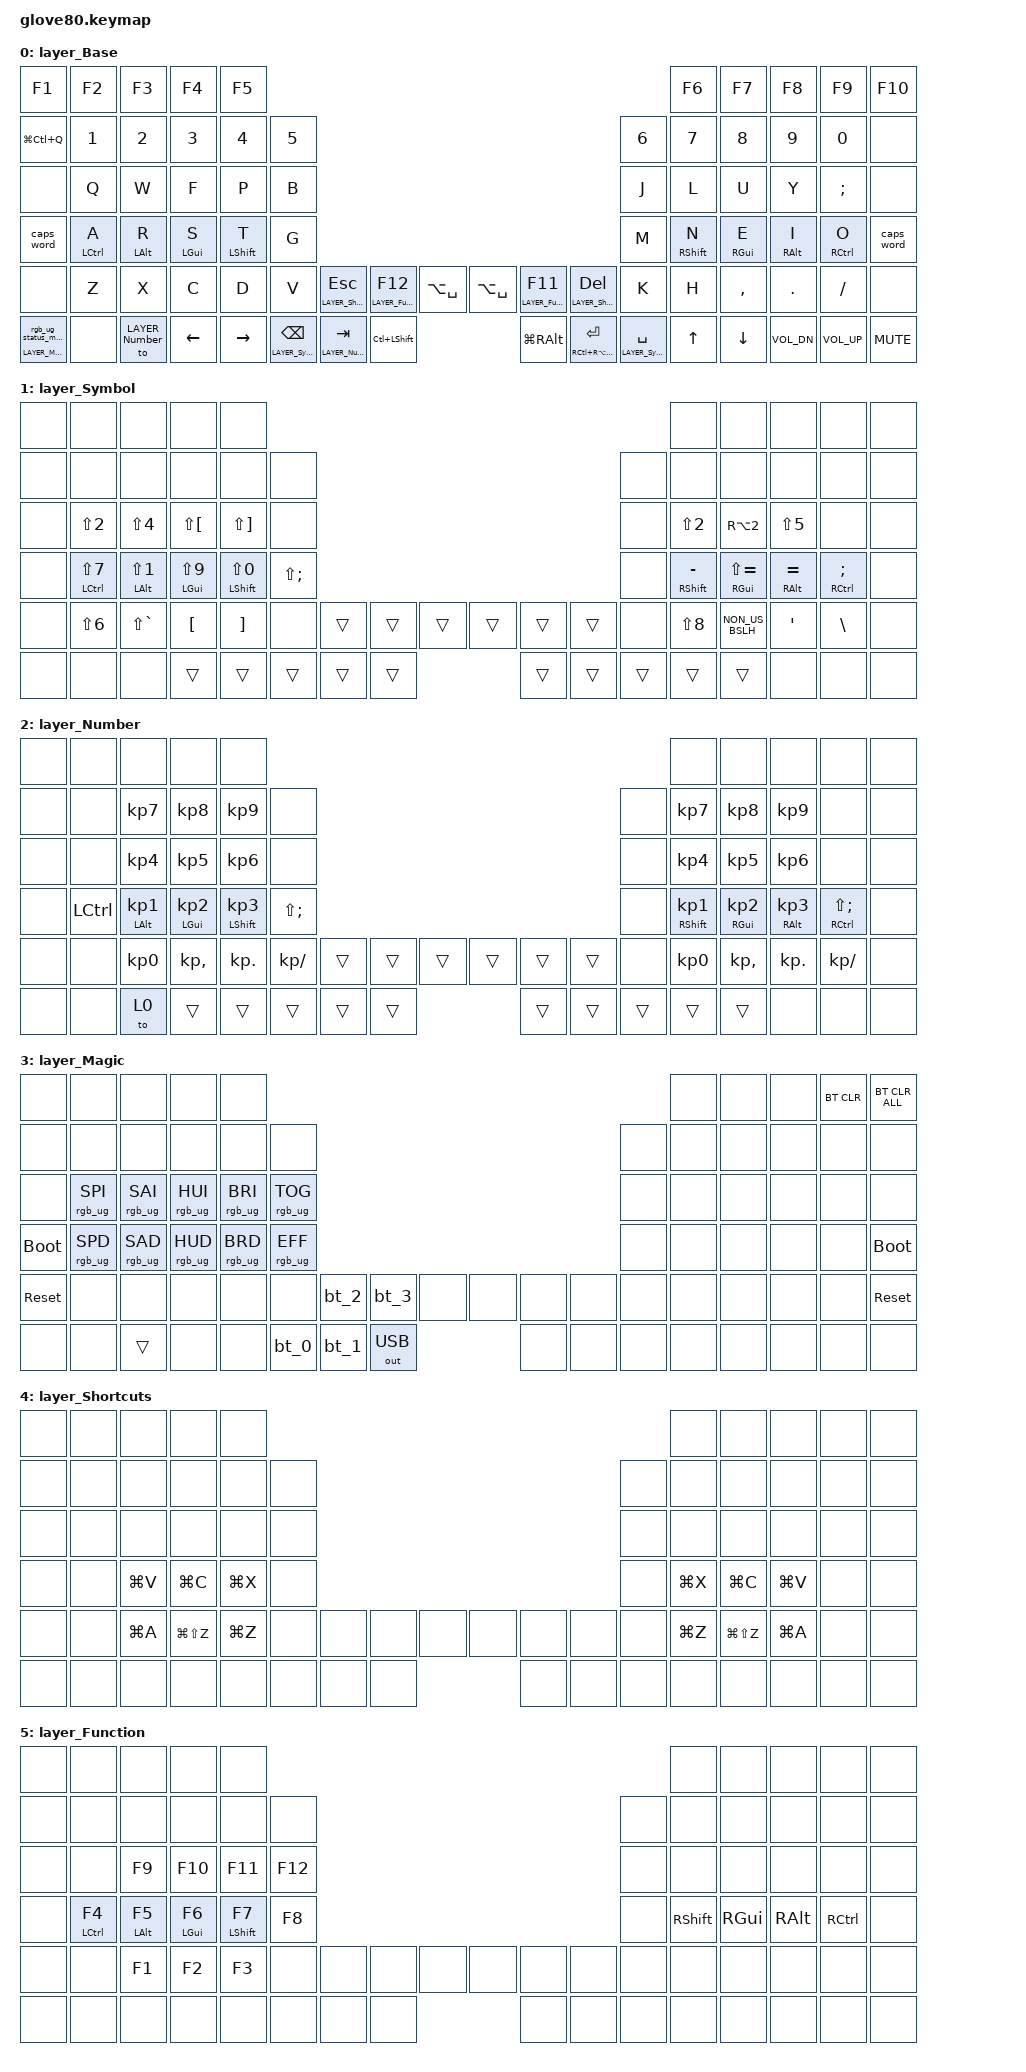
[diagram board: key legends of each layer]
/*
 * Copyright (c) 2020 The ZMK Contributors
 * Copyright (c) 2025 Innaworks Development Limited, trading as MoErgo
 *
 * SPDX-License-Identifier: MIT
 */


/* THIS FILE WAS GENERATED BY GLOVE80 LAYOUT EDITOR
 *
 * This file was generated automatically. You may or may not want to
 * edit it directly.
 */

#include <behaviors.dtsi>
/* Include all behavior includes needed */
#include <dt-bindings/zmk/outputs.h>
#include <dt-bindings/zmk/keys.h>
#include <dt-bindings/zmk/bt.h>
#include <dt-bindings/zmk/rgb.h>

/* On demand includes */
#include <dt-bindings/zmk/rgb_colors.h>

/* Helper Macros, based on https://github.com/urob/zmk-helpers/ */

#pragma once

#define ZMK_HELPER_STRINGIFY(x) #x

// Preprocessor mechanism to overload macros, cf. https://stackoverflow.com/a/27051616/6114651
#define VARGS_(_10, _9, _8, _7, _6, _5, _4, _3, _2, _1, N, ...) N
#define VARGS(...) VARGS_(__VA_ARGS__, 10, 9, 8, 7, 6, 5, 4, 3, 2, 1, 0)
#define CONCAT_(a, b) a##b
#define CONCAT(a, b) CONCAT_(a, b)

#define ZMK_BEHAVIOR_CORE_tap_dance  \
    compatible = "zmk,behavior-tap-dance"; \
    #binding-cells = <0>

#define ZMK_BEHAVIOR(name, type, ...) \
    name: name { \
        ZMK_BEHAVIOR_CORE_ ## type; \
        __VA_ARGS__ \
    };

#define ZMK_TAP_DANCE(name, ...) \
    ZMK_BEHAVIOR(name, tap_dance, __VA_ARGS__)

#define ZMK_TD_LAYER(name, layer) \
    ZMK_TAP_DANCE(name, \
        tapping-term-ms = <200>; \
        bindings = <&mo layer>, <&to layer>; \
)

/* Environment and metadata defines */
#define KB_TYPE_GLOVE_80 1
#define KB_TYPE_GO_60    2

#define KB_TYPE          KB_TYPE_GLOVE_80
#define EDITOR_HOST_OS   'M'

/* Automatically generated layer name defines */
#define LAYER_Base 0
#define LAYER_Symbol 1
#define LAYER_Number 2
#define LAYER_Magic 3
#define LAYER_Shortcuts 4
#define LAYER_Function 5

/* To deal with the situation where there is no Lower layer, to keep &lower happy */
#ifndef LAYER_Lower
#define LAYER_Lower 0
#endif

/* Custom Device-tree */
/ {
    underglow-layer {
        compatible  = "zmk,underglow-layer";

        symbol {
            bindings = <
                &ug ___ &ug RED &ug ___ &ug ___ &ug ___                                                                  &ug ___ &ug ___ &ug ___ &ug ___ &ug ___
                &ug ___ &ug ___ &ug ___ &ug ___ &ug ___ &ug ___                                                  &ug ___ &ug ___ &ug ___ &ug ___ &ug ___ &ug ___
                &ug ___ &ug ___ &ug ___ &ug ___ &ug ___ &ug ___                                                  &ug ___ &ug ___ &ug ___ &ug ___ &ug ___ &ug ___
                &ug ___ &ug ___ &ug ___ &ug ___ &ug ___ &ug ___                                                  &ug ___ &ug ___ &ug ___ &ug ___ &ug ___ &ug ___
                &ug ___ &ug ___ &ug ___ &ug ___ &ug ___ &ug ___ &ug ___ &ug ___ &ug ___  &ug ___ &ug ___ &ug ___ &ug ___ &ug ___ &ug ___ &ug ___ &ug ___ &ug ___
                &ug ___ &ug ___ &ug ___ &ug ___ &ug ___         &ug ___ &ug ___ &ug ___  &ug ___ &ug ___ &ug ___         &ug ___ &ug ___ &ug ___ &ug ___ &ug ___
                >;
            layer-id = <LAYER_Symbol>;
        };

        number {
            bindings = <
                &ug ___ &ug ___ &ug RED &ug ___ &ug ___                                                                  &ug ___ &ug ___ &ug ___ &ug ___ &ug ___
                &ug ___ &ug ___ &ug ___ &ug ___ &ug ___ &ug ___                                                  &ug ___ &ug ___ &ug ___ &ug ___ &ug ___ &ug ___
                &ug ___ &ug ___ &ug ___ &ug ___ &ug ___ &ug ___                                                  &ug ___ &ug ___ &ug ___ &ug ___ &ug ___ &ug ___
                &ug ___ &ug ___ &ug ___ &ug ___ &ug ___ &ug ___                                                  &ug ___ &ug ___ &ug ___ &ug ___ &ug ___ &ug ___
                &ug ___ &ug ___ &ug ___ &ug ___ &ug ___ &ug ___ &ug ___ &ug ___ &ug ___  &ug ___ &ug ___ &ug ___ &ug ___ &ug ___ &ug ___ &ug ___ &ug ___ &ug ___
                &ug ___ &ug ___ &ug ___ &ug ___ &ug ___         &ug ___ &ug ___ &ug ___  &ug ___ &ug ___ &ug ___         &ug ___ &ug ___ &ug ___ &ug ___ &ug ___
                >;
            layer-id = <LAYER_Number>;
        };

        shortcuts {
            bindings = <
                &ug ___ &ug ___ &ug ___ &ug RED &ug ___                                                                  &ug ___ &ug ___ &ug ___ &ug ___ &ug ___
                &ug ___ &ug ___ &ug ___ &ug ___ &ug ___ &ug ___                                                  &ug ___ &ug ___ &ug ___ &ug ___ &ug ___ &ug ___
                &ug ___ &ug ___ &ug ___ &ug ___ &ug ___ &ug ___                                                  &ug ___ &ug ___ &ug ___ &ug ___ &ug ___ &ug ___
                &ug ___ &ug ___ &ug ___ &ug ___ &ug ___ &ug ___                                                  &ug ___ &ug ___ &ug ___ &ug ___ &ug ___ &ug ___
                &ug ___ &ug ___ &ug ___ &ug ___ &ug ___ &ug ___ &ug ___ &ug ___ &ug ___  &ug ___ &ug ___ &ug ___ &ug ___ &ug ___ &ug ___ &ug ___ &ug ___ &ug ___
                &ug ___ &ug ___ &ug ___ &ug ___ &ug ___         &ug ___ &ug ___ &ug ___  &ug ___ &ug ___ &ug ___         &ug ___ &ug ___ &ug ___ &ug ___ &ug ___
                >;
            layer-id = <LAYER_Shortcuts>;
        };

        function {
            bindings = <
                &ug ___ &ug ___ &ug ___ &ug ___ &ug RED                                                                  &ug ___ &ug ___ &ug ___ &ug ___ &ug ___
                &ug ___ &ug ___ &ug ___ &ug ___ &ug ___ &ug ___                                                  &ug ___ &ug ___ &ug ___ &ug ___ &ug ___ &ug ___
                &ug ___ &ug ___ &ug ___ &ug ___ &ug ___ &ug ___                                                  &ug ___ &ug ___ &ug ___ &ug ___ &ug ___ &ug ___
                &ug ___ &ug ___ &ug ___ &ug ___ &ug ___ &ug ___                                                  &ug ___ &ug ___ &ug ___ &ug ___ &ug ___ &ug ___
                &ug ___ &ug ___ &ug ___ &ug ___ &ug ___ &ug ___ &ug ___ &ug ___ &ug ___  &ug ___ &ug ___ &ug ___ &ug ___ &ug ___ &ug ___ &ug ___ &ug ___ &ug ___
                &ug ___ &ug ___ &ug ___ &ug ___ &ug ___         &ug ___ &ug ___ &ug ___  &ug ___ &ug ___ &ug ___         &ug ___ &ug ___ &ug ___ &ug ___ &ug ___
                >;
            layer-id = <LAYER_Function>;
        };
    };
};

/* Input Listeners */


/* System behavior and Macros */
/ {
    behaviors {
        ZMK_TD_LAYER(lower, LAYER_Lower)
    };
};

/ {
    macros {
        rgb_ug_status_macro: rgb_ug_status_macro {
            label = "RGB_UG_STATUS";
            compatible = "zmk,behavior-macro";
            #binding-cells = <0>;
            bindings
                = <&rgb_ug RGB_STATUS>;
        };
    };
};


/ {
#ifdef BT_DISC_CMD
    behaviors {
        bt_0: bt_0 {
            compatible = "zmk,behavior-tap-dance";
            label = "BT_0";
            #binding-cells = <0>;
            tapping-term-ms = <200>;
            bindings = <&bt_select_0>, <&bt BT_DISC 0>;
        };
        bt_1: bt_1 {
            compatible = "zmk,behavior-tap-dance";
            label = "BT_1";
            #binding-cells = <0>;
            tapping-term-ms = <200>;
            bindings = <&bt_select_1>, <&bt BT_DISC 1>;
        };
        bt_2: bt_2 {
            compatible = "zmk,behavior-tap-dance";
            label = "BT_2";
            #binding-cells = <0>;
            tapping-term-ms = <200>;
            bindings = <&bt_select_2>, <&bt BT_DISC 2>;
        };
        bt_3: bt_3 {
            compatible = "zmk,behavior-tap-dance";
            label = "BT_3";
            #binding-cells = <0>;
            tapping-term-ms = <200>;
            bindings = <&bt_select_3>, <&bt BT_DISC 3>;
        };
    };
    macros {
        bt_select_0: bt_select_0 {
            label = "BT_SELECT_0";
            compatible = "zmk,behavior-macro";
            #binding-cells = <0>;
            bindings
                = <&out OUT_BLE>,
                  <&bt BT_SEL 0>;
        };
        bt_select_1: bt_select_1 {
            label = "BT_SELECT_1";
            compatible = "zmk,behavior-macro";
            #binding-cells = <0>;
            bindings
                = <&out OUT_BLE>,
                  <&bt BT_SEL 1>;
        };
        bt_select_2: bt_select_2 {
            label = "BT_SELECT_2";
            compatible = "zmk,behavior-macro";
            #binding-cells = <0>;
            bindings
                = <&out OUT_BLE>,
                  <&bt BT_SEL 2>;
        };
        bt_select_3: bt_select_3 {
            label = "BT_SELECT_3";
            compatible = "zmk,behavior-macro";
            #binding-cells = <0>;
            bindings
                = <&out OUT_BLE>,
                  <&bt BT_SEL 3>;
        };
    };
#else
    macros {
        bt_0: bt_0 {
            label = "BT_0";
            compatible = "zmk,behavior-macro";
            #binding-cells = <0>;
            bindings
                = <&out OUT_BLE>,
                  <&bt BT_SEL 0>;
        };
        bt_1: bt_1 {
            label = "BT_1";
            compatible = "zmk,behavior-macro";
            #binding-cells = <0>;
            bindings
                = <&out OUT_BLE>,
                  <&bt BT_SEL 1>;
        };
        bt_2: bt_2 {
            label = "BT_2";
            compatible = "zmk,behavior-macro";
            #binding-cells = <0>;
            bindings
                = <&out OUT_BLE>,
                  <&bt BT_SEL 2>;
        };
        bt_3: bt_3 {
            label = "BT_3";
            compatible = "zmk,behavior-macro";
            #binding-cells = <0>;
            bindings
                = <&out OUT_BLE>,
                  <&bt BT_SEL 3>;
        };
    };
#endif
};

/ {
    behaviors {
        magic: magic {
            compatible = "zmk,behavior-hold-tap";
            label = "MAGIC_HOLD_TAP";
            #binding-cells = <2>;
            flavor = "tap-preferred";
            tapping-term-ms = <200>;
            bindings = <&mo>, <&rgb_ug_status_macro>;
        };
    };
};


/* Key positions */

#define POS_LH_C6R1 0
#define POS_LH_C5R1 1
#define POS_LH_C4R1 2
#define POS_LH_C3R1 3
#define POS_LH_C2R1 4
#define POS_RH_C2R1 5
#define POS_RH_C3R1 6
#define POS_RH_C4R1 7
#define POS_RH_C5R1 8
#define POS_RH_C6R1 9
#define POS_LH_C6R2 10
#define POS_LH_C5R2 11
#define POS_LH_C4R2 12
#define POS_LH_C3R2 13
#define POS_LH_C2R2 14
#define POS_LH_C1R2 15
#define POS_RH_C1R2 16
#define POS_RH_C2R2 17
#define POS_RH_C3R2 18
#define POS_RH_C4R2 19
#define POS_RH_C5R2 20
#define POS_RH_C6R2 21
#define POS_LH_C6R3 22
#define POS_LH_C5R3 23
#define POS_LH_C4R3 24
#define POS_LH_C3R3 25
#define POS_LH_C2R3 26
#define POS_LH_C1R3 27
#define POS_RH_C1R3 28
#define POS_RH_C2R3 29
#define POS_RH_C3R3 30
#define POS_RH_C4R3 31
#define POS_RH_C5R3 32
#define POS_RH_C6R3 33
#define POS_LH_C6R4 34
#define POS_LH_C5R4 35
#define POS_LH_C4R4 36
#define POS_LH_C3R4 37
#define POS_LH_C2R4 38
#define POS_LH_C1R4 39
#define POS_RH_C1R4 40
#define POS_RH_C2R4 41
#define POS_RH_C3R4 42
#define POS_RH_C4R4 43
#define POS_RH_C5R4 44
#define POS_RH_C6R4 45
#define POS_LH_C6R5 46
#define POS_LH_C5R5 47
#define POS_LH_C4R5 48
#define POS_LH_C3R5 49
#define POS_LH_C2R5 50
#define POS_LH_C1R5 51
#define POS_LH_T1 52
#define POS_LH_T2 53
#define POS_LH_T3 54
#define POS_RH_T3 55
#define POS_RH_T2 56
#define POS_RH_T1 57
#define POS_RH_C1R5 58
#define POS_RH_C2R5 59
#define POS_RH_C3R5 60
#define POS_RH_C4R5 61
#define POS_RH_C5R5 62
#define POS_RH_C6R5 63
#define POS_LH_C6R6 64
#define POS_LH_C5R6 65
#define POS_LH_C4R6 66
#define POS_LH_C3R6 67
#define POS_LH_C2R6 68
#define POS_LH_T4 69
#define POS_LH_T5 7011
#define POS_LH_T6 71
#define POS_RH_T6 72
#define POS_RH_T5 73
#define POS_RH_T4 74
#define POS_RH_C2R6 75
#define POS_RH_C3R6 76
#define POS_RH_C4R6 77
#define POS_RH_C5R6 78
#define POS_RH_C6R6 79


/* Custom Defined Behaviors */
/ {

};

/* Generated input processors */


/* Automatically generated macro definitions */
/ {
    macros {

    };
};

/* Automatically generated behavior definitions */
/ {
    behaviors {


        // Homerow Mod for the left index finger - TailorKey.
        // For advanced tuning of HRM values, see: https://docs.google.com/spreadsheets/d/1ESgObQelyz4lnKlfwLYsmofLJulOMK5RdGBsopLe2o8
        HRM_left_index_v1_TKZ: HRM_left_index_v1_TKZ {
            compatible = "zmk,behavior-hold-tap";
            #binding-cells = <2>;
            tapping-term-ms = <210>;
            bindings = <&kp>, <&kp>;
            flavor = "tap-preferred";
            quick-tap-ms = <300>;
            require-prior-idle-ms = <100>;
            hold-trigger-key-positions = <POS_RH_T1 POS_RH_T2 POS_RH_T3 POS_RH_T6 POS_RH_T5 POS_RH_T4 POS_RH_C2R1 POS_RH_C3R1 POS_RH_C4R1 POS_RH_C5R1 POS_RH_C1R2 POS_RH_C2R2 POS_RH_C3R2 POS_RH_C4R2 POS_RH_C5R2 POS_RH_C1R3 POS_RH_C2R3 POS_RH_C3R3 POS_RH_C4R3 POS_RH_C5R3 POS_RH_C1R4 POS_RH_C2R4 POS_RH_C3R4 POS_RH_C4R4 POS_RH_C5R4 POS_RH_C1R5 POS_RH_C2R5 POS_RH_C3R5 POS_RH_C4R5 POS_RH_C5R5 POS_RH_C2R6 POS_RH_C3R6 POS_RH_C4R6 POS_RH_C5R6 POS_RH_C6R1 POS_RH_C6R2 POS_RH_C6R3 POS_RH_C6R4 POS_RH_C6R5 POS_RH_C6R6 POS_LH_T1 POS_LH_T2 POS_LH_T3 POS_LH_T5 POS_LH_T6 POS_LH_T4>;
            hold-trigger-on-release;
        };

        // Homerow Mod for the left middle finger - TailorKey
        HRM_left_middy_v1_TKZ: HRM_left_middy_v1_TKZ {
            compatible = "zmk,behavior-hold-tap";
            #binding-cells = <2>;
            tapping-term-ms = <210>;
            bindings = <&kp>, <&kp>;
            flavor = "tap-preferred";
            quick-tap-ms = <300>;
            require-prior-idle-ms = <150>;
            hold-trigger-key-positions = <POS_RH_T1 POS_RH_T2 POS_RH_T3 POS_RH_T6 POS_RH_T5 POS_RH_T4 POS_RH_C2R1 POS_RH_C3R1 POS_RH_C4R1 POS_RH_C5R1 POS_RH_C1R2 POS_RH_C2R2 POS_RH_C3R2 POS_RH_C4R2 POS_RH_C5R2 POS_RH_C1R3 POS_RH_C2R3 POS_RH_C3R3 POS_RH_C4R3 POS_RH_C5R3 POS_RH_C1R4 POS_RH_C2R4 POS_RH_C3R4 POS_RH_C4R4 POS_RH_C5R4 POS_RH_C1R5 POS_RH_C2R5 POS_RH_C3R5 POS_RH_C4R5 POS_RH_C5R5 POS_RH_C2R6 POS_RH_C3R6 POS_RH_C4R6 POS_RH_C5R6 POS_RH_C6R1 POS_RH_C6R2 POS_RH_C6R3 POS_RH_C6R4 POS_RH_C6R5 POS_RH_C6R6 POS_LH_T1 POS_LH_T2 POS_LH_T3 POS_LH_T4 POS_LH_T5 POS_LH_T6>;
            hold-trigger-on-release;
        };

        // Homerow Mod for the left pinky - TailorKey
        HRM_left_pinky_v1_TKZ: HRM_left_pinky_v1_TKZ {
            compatible = "zmk,behavior-hold-tap";
            #binding-cells = <2>;
            tapping-term-ms = <260>;
            bindings = <&kp>, <&kp>;
            flavor = "tap-preferred";
            quick-tap-ms = <300>;
            require-prior-idle-ms = <150>;
            hold-trigger-key-positions = <POS_RH_T1 POS_RH_T2 POS_RH_T3 POS_RH_T6 POS_RH_T5 POS_RH_T4 POS_RH_C2R1 POS_RH_C3R1 POS_RH_C4R1 POS_RH_C5R1 POS_RH_C6R1 POS_RH_C1R2 POS_RH_C2R2 POS_RH_C3R2 POS_RH_C4R2 POS_RH_C5R2 POS_RH_C6R2 POS_RH_C2R3 POS_RH_C3R3 POS_RH_C4R3 POS_RH_C5R3 POS_RH_C6R3 POS_RH_C3R4 POS_RH_C4R4 POS_RH_C5R4 POS_RH_C6R4 POS_RH_C3R5 POS_RH_C4R5 POS_RH_C5R5 POS_RH_C6R5 POS_RH_C1R3 POS_RH_C1R4 POS_RH_C2R4 POS_RH_C1R5 POS_RH_C2R5 POS_RH_C2R6 POS_RH_C3R6 POS_RH_C4R6 POS_RH_C6R6 POS_RH_C5R6 POS_LH_T1 POS_LH_T2 POS_LH_T3 POS_LH_T4 POS_LH_T5 POS_LH_T6>;
            hold-trigger-on-release;
        };

        // Homerow Mod for the left ring finger 1 - TailorKey
        HRM_left_ring_v1_TKZ: HRM_left_ring_v1_TKZ {
            compatible = "zmk,behavior-hold-tap";
            #binding-cells = <2>;
            tapping-term-ms = <240>;
            bindings = <&kp>, <&kp>;
            flavor = "tap-preferred";
            quick-tap-ms = <300>;
            require-prior-idle-ms = <150>;
            hold-trigger-key-positions = <POS_RH_T1 POS_RH_T2 POS_RH_T3 POS_RH_T6 POS_RH_T5 POS_RH_T4 POS_RH_C2R1 POS_RH_C3R1 POS_RH_C4R1 POS_RH_C5R1 POS_RH_C1R2 POS_RH_C2R2 POS_RH_C3R2 POS_RH_C4R2 POS_RH_C5R2 POS_RH_C1R3 POS_RH_C2R3 POS_RH_C3R3 POS_RH_C4R3 POS_RH_C5R3 POS_RH_C1R4 POS_RH_C2R4 POS_RH_C3R4 POS_RH_C4R4 POS_RH_C5R4 POS_RH_C1R5 POS_RH_C2R5 POS_RH_C3R5 POS_RH_C4R5 POS_RH_C5R5 POS_RH_C2R6 POS_RH_C3R6 POS_RH_C4R6 POS_RH_C5R6 POS_RH_C6R1 POS_RH_C6R2 POS_RH_C6R3 POS_RH_C6R4 POS_RH_C6R5 POS_RH_C6R6 POS_LH_T1 POS_LH_T2 POS_LH_T3 POS_LH_T4 POS_LH_T5 POS_LH_T6>;
            hold-trigger-on-release;
        };

        // Homerow Mod for the right index finger - TailorKey
        HRM_right_index_v1_TKZ: HRM_right_index_v1_TKZ {
            compatible = "zmk,behavior-hold-tap";
            #binding-cells = <2>;
            tapping-term-ms = <210>;
            bindings = <&kp>, <&kp>;
            flavor = "tap-preferred";
            quick-tap-ms = <300>;
            require-prior-idle-ms = <100>;
            hold-trigger-key-positions = <POS_LH_T1 POS_LH_T2 POS_LH_T3 POS_LH_T6 POS_LH_T5 POS_LH_T4 POS_LH_C6R1 POS_LH_C5R1 POS_LH_C6R2 POS_LH_C5R2 POS_LH_C4R2 POS_LH_C3R2 POS_LH_C2R2 POS_LH_C6R3 POS_LH_C5R3 POS_LH_C4R3 POS_LH_C3R3 POS_LH_C2R3 POS_LH_C1R3 POS_LH_C6R4 POS_LH_C5R4 POS_LH_C4R4 POS_LH_C3R4 POS_LH_C2R4 POS_LH_C1R4 POS_LH_C6R5 POS_LH_C5R5 POS_LH_C4R5 POS_LH_C3R5 POS_LH_C2R5 POS_LH_C1R5 POS_LH_C6R6 POS_LH_C5R6 POS_LH_C4R6 POS_LH_C3R6 POS_LH_C2R6 POS_LH_C1R2 POS_LH_C2R1 POS_LH_C4R1 POS_LH_C3R1 POS_RH_T3 POS_RH_T2 POS_RH_T1 POS_RH_T6 POS_RH_T5 POS_RH_T4>;
            hold-trigger-on-release;
        };

        // Homerow Mod for the right middle finger - TailorKey
        HRM_right_middy_v1_TKZ: HRM_right_middy_v1_TKZ {
            compatible = "zmk,behavior-hold-tap";
            #binding-cells = <2>;
            tapping-term-ms = <210>;
            bindings = <&kp>, <&kp>;
            flavor = "tap-preferred";
            quick-tap-ms = <300>;
            require-prior-idle-ms = <150>;
            hold-trigger-key-positions = <POS_LH_T1 POS_LH_T2 POS_LH_T3 POS_LH_T6 POS_LH_T5 POS_LH_T4 POS_LH_C6R1 POS_LH_C5R1 POS_LH_C6R2 POS_LH_C5R2 POS_LH_C4R2 POS_LH_C3R2 POS_LH_C2R2 POS_LH_C6R3 POS_LH_C5R3 POS_LH_C4R3 POS_LH_C3R3 POS_LH_C2R3 POS_LH_C1R3 POS_LH_C6R4 POS_LH_C5R4 POS_LH_C4R4 POS_LH_C3R4 POS_LH_C2R4 POS_LH_C1R4 POS_LH_C6R5 POS_LH_C5R5 POS_LH_C4R5 POS_LH_C3R5 POS_LH_C2R5 POS_LH_C1R5 POS_LH_C6R6 POS_LH_C5R6 POS_LH_C4R6 POS_LH_C3R6 POS_LH_C2R6 POS_LH_C1R2 POS_LH_C2R1 POS_LH_C4R1 POS_LH_C3R1 POS_RH_T3 POS_RH_T2 POS_RH_T1 POS_RH_T6 POS_RH_T5 POS_RH_T4>;
            hold-trigger-on-release;
        };

        // Homerow Mod for the right pinky - TailorKey
        HRM_right_pinky_v1_TKZ: HRM_right_pinky_v1_TKZ {
            compatible = "zmk,behavior-hold-tap";
            #binding-cells = <2>;
            tapping-term-ms = <260>;
            bindings = <&kp>, <&kp>;
            flavor = "tap-preferred";
            quick-tap-ms = <300>;
            require-prior-idle-ms = <150>;
            hold-trigger-key-positions = <POS_LH_T1 POS_LH_T2 POS_LH_T3 POS_LH_T6 POS_LH_T5 POS_LH_T4 POS_LH_C6R1 POS_LH_C5R1 POS_LH_C6R2 POS_LH_C5R2 POS_LH_C4R2 POS_LH_C3R2 POS_LH_C2R2 POS_LH_C6R3 POS_LH_C5R3 POS_LH_C4R3 POS_LH_C3R3 POS_LH_C2R3 POS_LH_C1R3 POS_LH_C6R4 POS_LH_C5R4 POS_LH_C4R4 POS_LH_C3R4 POS_LH_C2R4 POS_LH_C1R4 POS_LH_C6R5 POS_LH_C5R5 POS_LH_C4R5 POS_LH_C3R5 POS_LH_C2R5 POS_LH_C1R5 POS_LH_C6R6 POS_LH_C5R6 POS_LH_C4R6 POS_LH_C3R6 POS_LH_C2R6 POS_LH_C1R2 POS_LH_C2R1 POS_LH_C4R1 POS_LH_C3R1 POS_RH_T3 POS_RH_T2 POS_RH_T1 POS_RH_T6 POS_RH_T5 POS_RH_T4>;
            hold-trigger-on-release;
        };

        // Homerow Mod for the right ring 1 - TailorKey
        //
        HRM_right_ring_v1_TKZ: HRM_right_ring_v1_TKZ {
            compatible = "zmk,behavior-hold-tap";
            #binding-cells = <2>;
            tapping-term-ms = <240>;
            bindings = <&kp>, <&kp>;
            flavor = "tap-preferred";
            quick-tap-ms = <300>;
            require-prior-idle-ms = <150>;
            hold-trigger-key-positions = <POS_LH_T1 POS_LH_T2 POS_LH_T3 POS_LH_T6 POS_LH_T5 POS_LH_T4 POS_LH_C6R1 POS_LH_C5R1 POS_LH_C6R2 POS_LH_C5R2 POS_LH_C4R2 POS_LH_C3R2 POS_LH_C2R2 POS_LH_C6R3 POS_LH_C5R3 POS_LH_C4R3 POS_LH_C3R3 POS_LH_C2R3 POS_LH_C1R3 POS_LH_C6R4 POS_LH_C5R4 POS_LH_C4R4 POS_LH_C3R4 POS_LH_C2R4 POS_LH_C1R4 POS_LH_C6R5 POS_LH_C5R5 POS_LH_C4R5 POS_LH_C3R5 POS_LH_C2R5 POS_LH_C1R5 POS_LH_C6R6 POS_LH_C5R6 POS_LH_C4R6 POS_LH_C3R6 POS_LH_C2R6 POS_LH_C1R2 POS_LH_C2R1 POS_LH_C4R1 POS_LH_C3R1 POS_RH_T3 POS_RH_T2 POS_RH_T1 POS_RH_T6 POS_RH_T5 POS_RH_T4>;
            hold-trigger-on-release;
        };

        // space_layer_access - TailorKey
        space_v2_TKZ: space_v2_TKZ {
            compatible = "zmk,behavior-hold-tap";
            #binding-cells = <2>;
            tapping-term-ms = <200>;
            bindings = <&mo>, <&kp>;
            flavor = "balanced";
            quick-tap-ms = <150>;
            retro-tap;
        };

        // thumb_layer_access - TailorKey
        thumb_v2_Modifier: thumb_v2_Modifier {
            compatible = "zmk,behavior-hold-tap";
            #binding-cells = <2>;
            tapping-term-ms = <250>;
            bindings = <&kp>, <&kp>;
            flavor = "balanced";
            quick-tap-ms = <350>;
        };

        // thumb_layer_access - TailorKey
        thumb_v2_TKZ: thumb_v2_TKZ {
            compatible = "zmk,behavior-hold-tap";
            #binding-cells = <2>;
            tapping-term-ms = <250>;
            bindings = <&mo>, <&kp>;
            flavor = "balanced";
            quick-tap-ms = <350>;
        };
    };
};

/* Automatically generated combos definitions */


/* Automatically generated keymap */
/ {
    keymap {
        compatible = "zmk,keymap";


        layer_Base {
            bindings = <
               &kp F1                          &kp F2                        &kp F3                         &kp F4                          &kp F5                                                                                                                                                                                                                       &kp F6                          &kp F7                         &kp F8                           &kp F9     &kp F10
        &kp LG(LC(Q))                          &kp N1                        &kp N2                         &kp N3                          &kp N4  &kp N5                                                                                                                                                                              &kp N6                           &kp N7                          &kp N8                         &kp N9                           &kp N0       &none
                &none                           &kp Q                         &kp W                          &kp F                           &kp P   &kp B                                                                                                                                                                               &kp J                            &kp L                           &kp U                          &kp Y                         &kp SEMI       &none
           &caps_word  &HRM_left_pinky_v1_TKZ LCTRL A  &HRM_left_ring_v1_TKZ LALT R  &HRM_left_middy_v1_TKZ LGUI S  &HRM_left_index_v1_TKZ LSHFT T   &kp G                                                                                                                                                                               &kp M  &HRM_right_index_v1_TKZ RSHFT N  &HRM_right_middy_v1_TKZ RGUI E  &HRM_right_ring_v1_TKZ RALT I  &HRM_right_pinky_v1_TKZ RCTRL O  &caps_word
                &none                           &kp Z                         &kp X                          &kp C                           &kp D   &kp V  &thumb_v2_TKZ LAYER_Shortcuts ESC  &thumb_v2_TKZ LAYER_Function F12  &kp LA(SPACE)  &kp LA(SPACE)      &thumb_v2_TKZ LAYER_Function F11  &thumb_v2_TKZ LAYER_Shortcuts DEL   &kp K                            &kp H                       &kp COMMA                        &kp DOT                         &kp FSLH       &none
 &magic LAYER_Magic 0                           &none              &to LAYER_Number                       &kp LEFT                       &kp RIGHT            &thumb_v2_TKZ LAYER_Symbol BSPC    &thumb_v2_TKZ LAYER_Number TAB  &kp LC(LSHFT)   &kp LG(RALT)  &thumb_v2_Modifier RC(RA(RSHFT)) RET   &space_v2_TKZ LAYER_Symbol SPACE                                   &kp UP                        &kp DOWN                   &kp C_VOL_DN                     &kp C_VOL_UP  &kp C_MUTE
            >;
        };

        layer_Symbol {
            bindings = <
  &none                                &none                              &none                               &none                                &none                                                                                                      &none                                   &none                              &none                               &none   &none
  &none                                &none                              &none                               &none                                &none         &none                                                   &none                                &none                                   &none                              &none                               &none   &none
  &none                           &kp LS(N2)                         &kp LS(N4)                        &kp LS(LBKT)                         &kp LS(RBKT)         &none                                                   &none                           &kp LS(N2)                              &kp RA(N2)                         &kp LS(N5)                               &none   &none
  &none  &HRM_left_pinky_v1_TKZ LCTRL LS(N7)  &HRM_left_ring_v1_TKZ LALT LS(N1)  &HRM_left_middy_v1_TKZ LGUI LS(N9)  &HRM_left_index_v1_TKZ LSHFT LS(N0)  &kp LS(SEMI)                                                   &none  &HRM_right_index_v1_TKZ RSHFT MINUS  &HRM_right_middy_v1_TKZ RGUI LS(EQUAL)  &HRM_right_ring_v1_TKZ RALT EQUAL  &HRM_right_pinky_v1_TKZ RCTRL SEMI   &none
  &none                           &kp LS(N6)                      &kp LS(GRAVE)                            &kp LBKT                             &kp RBKT         &none  &trans  &trans  &trans  &trans  &trans  &trans   &none                           &kp LS(N8)                         &kp NON_US_BSLH                            &kp SQT                            &kp BSLH   &none
  &none                                &none                              &none                              &trans                               &trans                &trans  &trans  &trans  &trans  &trans  &trans                                       &trans                                  &trans                              &none                               &none   &none
            >;
        };

        layer_Number {
            bindings = <
  &none      &none                             &none                              &none                               &none                                                                                                      &none                               &none                              &none                                   &none   &none
  &none      &none                         &kp KP_N7                          &kp KP_N8                           &kp KP_N9         &none                                                   &none                            &kp KP_N7                           &kp KP_N8                          &kp KP_N9                                   &none   &none
  &none      &none                         &kp KP_N4                          &kp KP_N5                           &kp KP_N6         &none                                                   &none                            &kp KP_N4                           &kp KP_N5                          &kp KP_N6                                   &none   &none
  &none  &kp LCTRL  &HRM_left_ring_v1_TKZ LALT KP_N1  &HRM_left_middy_v1_TKZ LGUI KP_N2  &HRM_left_index_v1_TKZ LSHFT KP_N3  &kp LS(SEMI)                                                   &none  &HRM_right_index_v1_TKZ RSHFT KP_N1  &HRM_right_middy_v1_TKZ RGUI KP_N2  &HRM_right_ring_v1_TKZ RALT KP_N3  &HRM_right_pinky_v1_TKZ RCTRL LS(SEMI)   &none
  &none      &none                         &kp KP_N0                       &kp KP_COMMA                          &kp KP_DOT  &kp KP_SLASH  &trans  &trans  &trans  &trans  &trans  &trans   &none                            &kp KP_N0                        &kp KP_COMMA                         &kp KP_DOT                            &kp KP_SLASH   &none
  &none      &none                             &to 0                             &trans                              &trans                &trans  &trans  &trans  &trans  &trans  &trans                                       &trans                              &trans                              &none                                   &none   &none
            >;
        };

        layer_Magic {
            bindings = <
       &none            &none            &none            &none            &none                                                                                  &none   &none   &none  &bt BT_CLR  &bt BT_CLR_ALL
       &none            &none            &none            &none            &none            &none                                                         &none   &none   &none   &none       &none           &none
       &none  &rgb_ug RGB_SPI  &rgb_ug RGB_SAI  &rgb_ug RGB_HUI  &rgb_ug RGB_BRI  &rgb_ug RGB_TOG                                                         &none   &none   &none   &none       &none           &none
 &bootloader  &rgb_ug RGB_SPD  &rgb_ug RGB_SAD  &rgb_ug RGB_HUD  &rgb_ug RGB_BRD  &rgb_ug RGB_EFF                                                         &none   &none   &none   &none       &none     &bootloader
  &sys_reset            &none            &none            &none            &none            &none   &bt_2   &bt_3         &none   &none   &none   &none   &none   &none   &none   &none       &none      &sys_reset
       &none            &none           &trans            &none            &none                    &bt_0   &bt_1  &out OUT_USB   &none   &none   &none           &none   &none   &none       &none           &none
            >;
        };

        layer_Shortcuts {
            bindings = <
  &none   &none      &none          &none      &none                                                                      &none          &none      &none   &none   &none
  &none   &none      &none          &none      &none   &none                                                   &none      &none          &none      &none   &none   &none
  &none   &none      &none          &none      &none   &none                                                   &none      &none          &none      &none   &none   &none
  &none   &none  &kp LG(V)      &kp LG(C)  &kp LG(X)   &none                                                   &none  &kp LG(X)      &kp LG(C)  &kp LG(V)   &none   &none
  &none   &none  &kp LG(A)  &kp LG(LS(Z))  &kp LG(Z)   &none   &none   &none   &none   &none   &none   &none   &none  &kp LG(Z)  &kp LG(LS(Z))  &kp LG(A)   &none   &none
  &none   &none      &none          &none      &none           &none   &none   &none   &none   &none   &none              &none          &none      &none   &none   &none
            >;
        };

        layer_Function {
            bindings = <
  &none                            &none                          &none                           &none                            &none                                                                       &none     &none     &none      &none   &none
  &none                            &none                          &none                           &none                            &none    &none                                                   &none      &none     &none     &none      &none   &none
  &none                            &none                         &kp F9                         &kp F10                          &kp F11  &kp F12                                                   &none      &none     &none     &none      &none   &none
  &none  &HRM_left_pinky_v1_TKZ LCTRL F4  &HRM_left_ring_v1_TKZ LALT F5  &HRM_left_middy_v1_TKZ LGUI F6  &HRM_left_index_v1_TKZ LSHFT F7   &kp F8                                                   &none  &kp RSHFT  &kp RGUI  &kp RALT  &kp RCTRL   &none
  &none                            &none                         &kp F1                          &kp F2                           &kp F3    &none   &none   &none   &none   &none   &none   &none   &none      &none     &none     &none      &none   &none
  &none                            &none                          &none                           &none                            &none            &none   &none   &none   &none   &none   &none              &none     &none     &none      &none   &none
            >;
        };

    };
};
